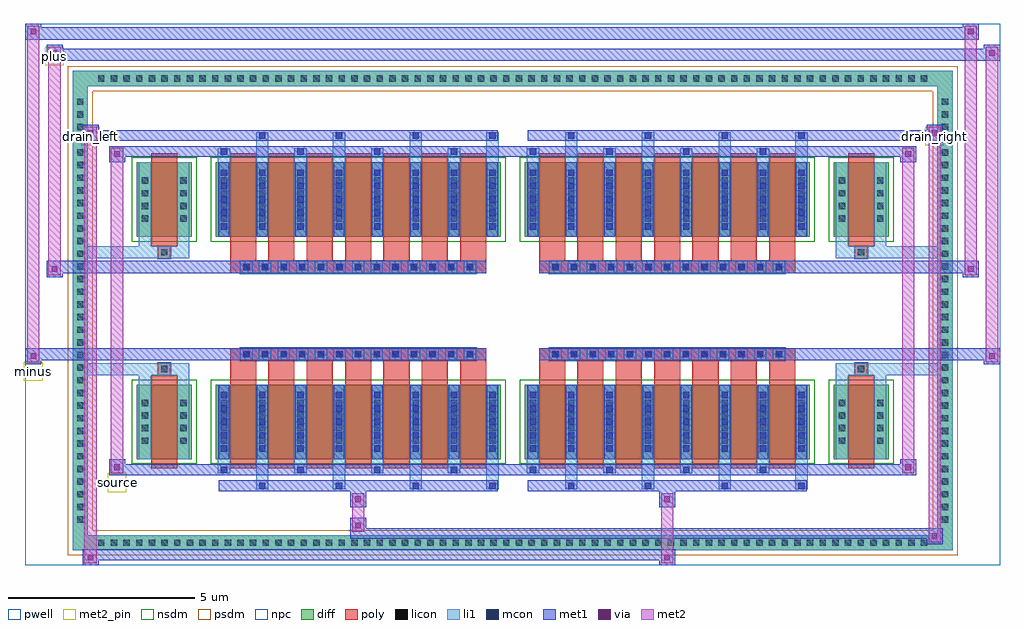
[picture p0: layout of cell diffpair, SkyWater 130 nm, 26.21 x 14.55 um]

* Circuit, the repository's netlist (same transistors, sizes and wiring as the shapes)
* NGSPICE file created from diffpair.ext - technology: sky130A

.subckt diffpair minus drain_right drain_left source plus
X0 a_n2364_n1288# a_n2364_n1288# a_n2364_n1288# a_n2364_n1288# sky130_fd_pr__nfet_01v8 ad=0.78 pd=4.78 as=6.24 ps=38.24 w=2 l=0.7
X1 drain_left plus source a_n2364_n1288# sky130_fd_pr__nfet_01v8 ad=0.33 pd=2.33 as=0.78 ps=4.78 w=2 l=0.7
X2 drain_left plus source a_n2364_n1288# sky130_fd_pr__nfet_01v8 ad=0.33 pd=2.33 as=0.33 ps=2.33 w=2 l=0.7
X3 source minus drain_right a_n2364_n1288# sky130_fd_pr__nfet_01v8 ad=0.33 pd=2.33 as=0.33 ps=2.33 w=2 l=0.7
X4 drain_right minus source a_n2364_n1288# sky130_fd_pr__nfet_01v8 ad=0.33 pd=2.33 as=0.78 ps=4.78 w=2 l=0.7
X5 source minus drain_right a_n2364_n1288# sky130_fd_pr__nfet_01v8 ad=0.33 pd=2.33 as=0.33 ps=2.33 w=2 l=0.7
X6 drain_left plus source a_n2364_n1288# sky130_fd_pr__nfet_01v8 ad=0.33 pd=2.33 as=0.33 ps=2.33 w=2 l=0.7
X7 drain_left plus source a_n2364_n1288# sky130_fd_pr__nfet_01v8 ad=0.33 pd=2.33 as=0.33 ps=2.33 w=2 l=0.7
X8 drain_left plus source a_n2364_n1288# sky130_fd_pr__nfet_01v8 ad=0.78 pd=4.78 as=0.33 ps=2.33 w=2 l=0.7
X9 drain_left plus source a_n2364_n1288# sky130_fd_pr__nfet_01v8 ad=0.33 pd=2.33 as=0.33 ps=2.33 w=2 l=0.7
X10 source plus drain_left a_n2364_n1288# sky130_fd_pr__nfet_01v8 ad=0.33 pd=2.33 as=0.33 ps=2.33 w=2 l=0.7
X11 drain_right minus source a_n2364_n1288# sky130_fd_pr__nfet_01v8 ad=0.78 pd=4.78 as=0.33 ps=2.33 w=2 l=0.7
X12 drain_right minus source a_n2364_n1288# sky130_fd_pr__nfet_01v8 ad=0.33 pd=2.33 as=0.33 ps=2.33 w=2 l=0.7
X13 drain_right minus source a_n2364_n1288# sky130_fd_pr__nfet_01v8 ad=0.33 pd=2.33 as=0.33 ps=2.33 w=2 l=0.7
X14 drain_left plus source a_n2364_n1288# sky130_fd_pr__nfet_01v8 ad=0.78 pd=4.78 as=0.33 ps=2.33 w=2 l=0.7
X15 source plus drain_left a_n2364_n1288# sky130_fd_pr__nfet_01v8 ad=0.33 pd=2.33 as=0.33 ps=2.33 w=2 l=0.7
X16 source plus drain_left a_n2364_n1288# sky130_fd_pr__nfet_01v8 ad=0.33 pd=2.33 as=0.33 ps=2.33 w=2 l=0.7
X17 source plus drain_left a_n2364_n1288# sky130_fd_pr__nfet_01v8 ad=0.33 pd=2.33 as=0.33 ps=2.33 w=2 l=0.7
X18 source minus drain_right a_n2364_n1288# sky130_fd_pr__nfet_01v8 ad=0.33 pd=2.33 as=0.33 ps=2.33 w=2 l=0.7
X19 drain_right minus source a_n2364_n1288# sky130_fd_pr__nfet_01v8 ad=0.33 pd=2.33 as=0.78 ps=4.78 w=2 l=0.7
X20 a_n2364_n1288# a_n2364_n1288# a_n2364_n1288# a_n2364_n1288# sky130_fd_pr__nfet_01v8 ad=0.78 pd=4.78 as=0 ps=0 w=2 l=0.7
X21 drain_right minus source a_n2364_n1288# sky130_fd_pr__nfet_01v8 ad=0.78 pd=4.78 as=0.33 ps=2.33 w=2 l=0.7
X22 source plus drain_left a_n2364_n1288# sky130_fd_pr__nfet_01v8 ad=0.33 pd=2.33 as=0.33 ps=2.33 w=2 l=0.7
X23 a_n2364_n1288# a_n2364_n1288# a_n2364_n1288# a_n2364_n1288# sky130_fd_pr__nfet_01v8 ad=0.78 pd=4.78 as=0 ps=0 w=2 l=0.7
X24 source minus drain_right a_n2364_n1288# sky130_fd_pr__nfet_01v8 ad=0.33 pd=2.33 as=0.33 ps=2.33 w=2 l=0.7
X25 drain_right minus source a_n2364_n1288# sky130_fd_pr__nfet_01v8 ad=0.33 pd=2.33 as=0.33 ps=2.33 w=2 l=0.7
X26 drain_right minus source a_n2364_n1288# sky130_fd_pr__nfet_01v8 ad=0.33 pd=2.33 as=0.33 ps=2.33 w=2 l=0.7
X27 source plus drain_left a_n2364_n1288# sky130_fd_pr__nfet_01v8 ad=0.33 pd=2.33 as=0.33 ps=2.33 w=2 l=0.7
X28 drain_left plus source a_n2364_n1288# sky130_fd_pr__nfet_01v8 ad=0.33 pd=2.33 as=0.78 ps=4.78 w=2 l=0.7
X29 source minus drain_right a_n2364_n1288# sky130_fd_pr__nfet_01v8 ad=0.33 pd=2.33 as=0.33 ps=2.33 w=2 l=0.7
X30 source minus drain_right a_n2364_n1288# sky130_fd_pr__nfet_01v8 ad=0.33 pd=2.33 as=0.33 ps=2.33 w=2 l=0.7
X31 a_n2364_n1288# a_n2364_n1288# a_n2364_n1288# a_n2364_n1288# sky130_fd_pr__nfet_01v8 ad=0.78 pd=4.78 as=0 ps=0 w=2 l=0.7
.ends

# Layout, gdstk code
import gdstk
lib = gdstk.Library(unit=1e-6, precision=5e-09)
def R(c, l, rs):  # rectangles x0, y0, x1, y1
    for r in rs: c.add(gdstk.rectangle(r[:2], r[2:], *l))
def A(c, l, x, y, w, h, nx, ny, dx, dy):  # array of equal rectangles
    R(c, l, [(x+i*dx, y+j*dy, x+i*dx+w, y+j*dy+h) for i in range(nx) for j in range(ny)])
def P(c, l, *ps):  # polygons
    for p in ps: c.add(gdstk.Polygon(p, *l))
pwell = (64, 44)
diff = (65, 20)
poly = (66, 20)
licon = (66, 44)
li1 = (67, 20)
mcon = (67, 44)
met1 = (68, 20)
via = (68, 44)
met2_pin = (69, 16)
met2 = (69, 20)
nsdm = (93, 44)
psdm = (94, 20)
npc = (95, 20)

diffpair = lib.new_cell('diffpair')
R(diffpair, pwell, [(-13.09,-6.84,13.09,7.71), (-10.41,-5.03,-0.01,-0.805), (0.01,-5.03,10.41,-0.805), (-10.41,0.805,-0.01,5.03), (0.01,0.805,10.41,5.03)])
A(diffpair, diff, -11.255, -6.44, 0.41, 0.41, 66, 2, 0.34, 12.47)
A(diffpair, diff, -11.82, -5.815, 0.41, 0.41, 1, 34, 0, 0.34)
A(diffpair, diff, 11.41, -5.815, 0.41, 0.41, 1, 34, 0, 0.34)
R(diffpair, diff, [(-11.255,-6.44,11.255,-6.03), (-11.82,-5.815,-11.41,5.815), (11.41,-5.815,11.82,5.815), (-10.1,-3.985,-8.62,-1.985), (-7.98,-3.985,-0.32,-1.985), (0.32,-3.985,7.98,-1.985), (8.62,-3.985,10.1,-1.985), (-10.1,1.985,-8.62,3.985), (-7.98,1.985,-0.32,3.985), (0.32,1.985,7.98,3.985), (8.62,1.985,10.1,3.985), (-11.255,6.03,11.255,6.44)])
P(diffpair, diff, [(11.82,6.44),(-11.82,6.44),(-11.82,-6.03),(-11.41,-6.03),(-11.41,6.03),(11.41,6.03),(11.41,-6.03),(-11.41,-6.03),(-11.82,-6.03),(-11.82,-6.44),(11.82,-6.44)])
A(diffpair, poly, -7.59, -4.235, 0.7, 2.5, 7, 2, 1.03, 5.97)
A(diffpair, poly, 0.71, -4.235, 0.7, 2.5, 7, 2, 1.03, 5.97)
A(diffpair, poly, -7.59, -1.735, 0.7, 0.4, 7, 2, 1.03, 3.07)
A(diffpair, poly, 0.71, -1.735, 0.7, 0.4, 7, 2, 1.03, 3.07)
A(diffpair, poly, -7.315, -1.335, 0.33, 0.33, 13, 2, 0.5, 2.34)
A(diffpair, poly, 0.985, -1.335, 0.33, 0.33, 13, 2, 0.5, 2.34)
R(diffpair, poly, [(-9.71,-4.235,-9.01,-1.735), (9.01,-4.235,9.71,-1.735), (-9.525,-1.735,-9.195,-1.405), (-9.525,-1.735,-9.195,-1.405), (9.195,-1.735,9.525,-1.405), (9.195,-1.735,9.525,-1.405), (-7.59,-1.335,-0.71,-1.005), (0.71,-1.335,7.59,-1.005), (-7.59,1.005,-0.71,1.335), (0.71,1.005,7.59,1.335), (-9.525,1.405,-9.195,1.735), (-9.525,1.405,-9.195,1.735), (9.195,1.405,9.525,1.735), (9.195,1.405,9.525,1.735), (-9.71,1.735,-9.01,4.235), (9.01,1.735,9.71,4.235)])
A(diffpair, licon, -11.135, -6.32, 0.17, 0.17, 66, 2, 0.34, 12.47)
A(diffpair, licon, -11.7, -5.695, 0.17, 0.17, 1, 34, 0, 0.34)
A(diffpair, licon, 11.53, -5.695, 0.17, 0.17, 1, 34, 0, 0.34)
A(diffpair, licon, -9.96, -3.58, 0.17, 0.17, 1, 4, 0, 0.34)
A(diffpair, licon, -8.93, -3.58, 0.17, 0.17, 1, 4, 0, 0.34)
A(diffpair, licon, -7.84, -3.58, 0.17, 0.17, 8, 4, 1.03, 0.34)
A(diffpair, licon, 0.46, -3.58, 0.17, 0.17, 8, 4, 1.03, 0.34)
A(diffpair, licon, 8.76, -3.58, 0.17, 0.17, 1, 4, 0, 0.34)
A(diffpair, licon, 9.79, -3.58, 0.17, 0.17, 1, 4, 0, 0.34)
A(diffpair, licon, -7.235, -1.255, 0.17, 0.17, 13, 2, 0.5, 2.34)
A(diffpair, licon, 1.065, -1.255, 0.17, 0.17, 13, 2, 0.5, 2.34)
A(diffpair, licon, -9.96, 2.39, 0.17, 0.17, 1, 4, 0, 0.34)
A(diffpair, licon, -8.93, 2.39, 0.17, 0.17, 1, 4, 0, 0.34)
A(diffpair, licon, -7.84, 2.39, 0.17, 0.17, 8, 4, 1.03, 0.34)
A(diffpair, licon, 0.46, 2.39, 0.17, 0.17, 8, 4, 1.03, 0.34)
A(diffpair, licon, 8.76, 2.39, 0.17, 0.17, 1, 4, 0, 0.34)
A(diffpair, licon, 9.79, 2.39, 0.17, 0.17, 1, 4, 0, 0.34)
R(diffpair, licon, [(-9.445,-1.655,-9.275,-1.485), (9.275,-1.655,9.445,-1.485), (-9.445,1.485,-9.275,1.655), (9.275,1.485,9.445,1.655)])
A(diffpair, li1, -11.215, -6.4, 0.33, 0.33, 66, 2, 0.34, 12.47)
A(diffpair, li1, -11.78, -5.775, 0.33, 0.33, 1, 34, 0, 0.34)
A(diffpair, li1, 11.45, -5.775, 0.33, 0.33, 1, 34, 0, 0.34)
A(diffpair, li1, -6.89, -4.79, 0.33, 0.805, 4, 2, 2.06, 8.775)
A(diffpair, li1, -6.81, -4.79, 0.17, 0.17, 4, 2, 2.06, 9.41)
A(diffpair, li1, 1.41, -4.79, 0.33, 0.805, 4, 2, 2.06, 8.775)
A(diffpair, li1, 1.49, -4.79, 0.17, 0.17, 4, 2, 2.06, 9.41)
A(diffpair, li1, -7.92, -4.36, 0.33, 0.375, 4, 2, 2.06, 8.345)
A(diffpair, li1, -7.84, -4.36, 0.17, 0.17, 4, 2, 2.06, 8.55)
A(diffpair, li1, 0.38, -4.36, 0.33, 0.375, 4, 2, 2.06, 8.345)
A(diffpair, li1, 0.46, -4.36, 0.17, 0.17, 4, 2, 2.06, 8.55)
A(diffpair, li1, -7.92, -3.985, 0.33, 2, 8, 2, 1.03, 5.97)
A(diffpair, li1, 0.38, -3.985, 0.33, 2, 8, 2, 1.03, 5.97)
A(diffpair, li1, -7.84, -3.79, 0.17, 0.17, 8, 5, 1.03, 0.36)
A(diffpair, li1, -7.84, -3.79, 0.17, 1.61, 8, 2, 1.03, 5.97)
A(diffpair, li1, 0.46, -3.79, 0.17, 0.17, 8, 5, 1.03, 0.36)
A(diffpair, li1, 0.46, -3.79, 0.17, 1.61, 8, 2, 1.03, 5.97)
A(diffpair, li1, -10.04, -3.66, 0.33, 0.33, 1, 4, 0, 0.34)
A(diffpair, li1, -9.01, -3.66, 0.33, 0.33, 1, 4, 0, 0.34)
A(diffpair, li1, -7.92, -3.66, 0.33, 0.33, 8, 4, 1.03, 0.34)
A(diffpair, li1, 0.38, -3.66, 0.33, 0.33, 8, 4, 1.03, 0.34)
A(diffpair, li1, 8.68, -3.66, 0.33, 0.33, 1, 4, 0, 0.34)
A(diffpair, li1, 9.71, -3.66, 0.33, 0.33, 1, 4, 0, 0.34)
A(diffpair, li1, -7.315, -1.335, 0.33, 0.33, 13, 2, 0.5, 2.34)
A(diffpair, li1, 0.985, -1.335, 0.33, 0.33, 13, 2, 0.5, 2.34)
A(diffpair, li1, -7.84, 2.18, 0.17, 0.17, 8, 5, 1.03, 0.36)
A(diffpair, li1, 0.46, 2.18, 0.17, 0.17, 8, 5, 1.03, 0.36)
A(diffpair, li1, -10.04, 2.31, 0.33, 0.33, 1, 4, 0, 0.34)
A(diffpair, li1, -9.01, 2.31, 0.33, 0.33, 1, 4, 0, 0.34)
A(diffpair, li1, -7.92, 2.31, 0.33, 0.33, 8, 4, 1.03, 0.34)
A(diffpair, li1, 0.38, 2.31, 0.33, 0.33, 8, 4, 1.03, 0.34)
A(diffpair, li1, 8.68, 2.31, 0.33, 0.33, 1, 4, 0, 0.34)
A(diffpair, li1, 9.71, 2.31, 0.33, 0.33, 1, 4, 0, 0.34)
R(diffpair, li1, [(-11.82,-6.44,-11.41,-6.03), (-11.82,-6.44,-11.41,-6.03), (-11.41,-6.44,11.41,-6.03), (11.41,-6.44,11.82,-6.03), (11.41,-6.44,11.82,-6.03), (-11.82,-6.03,-11.41,6.03), (11.41,-6.03,11.82,6.03), (-10.04,-3.985,-9.71,-1.985), (-9.01,-3.985,-8.68,-1.985), (8.68,-3.985,9.01,-1.985), (9.71,-3.985,10.04,-1.985), (-10.04,-1.985,-9.71,-1.405), (-9.01,-1.985,-8.68,-1.405), (8.68,-1.985,9.01,-1.405), (9.71,-1.985,10.04,-1.405), (-11.82,-1.735,-9.525,-1.405), (-10.04,-1.735,-9.525,-1.405), (-9.525,-1.735,-9.195,-1.405), (-9.195,-1.735,-8.68,-1.405), (8.68,-1.735,9.195,-1.405), (9.195,-1.735,9.525,-1.405), (9.195,-1.735,11.82,-1.405), (9.525,-1.735,10.04,-1.405), (-11.82,1.405,-9.525,1.735), (-10.04,1.405,-9.525,1.735), (-10.04,1.405,-9.71,1.985), (-9.525,1.405,-9.195,1.735), (-9.195,1.405,-8.68,1.735), (-9.01,1.405,-8.68,1.985), (8.68,1.405,9.195,1.735), (8.68,1.405,9.01,1.985), (9.195,1.405,9.525,1.735), (9.195,1.405,11.82,1.735), (9.525,1.405,10.04,1.735), (9.71,1.405,10.04,1.985), (-10.04,1.985,-9.71,3.985), (-9.01,1.985,-8.68,3.985), (8.68,1.985,9.01,3.985), (9.71,1.985,10.04,3.985), (-11.82,6.03,-11.41,6.44), (-11.82,6.03,-11.41,6.44), (-11.41,6.03,11.41,6.44), (11.41,6.03,11.82,6.44), (11.41,6.03,11.82,6.44)])
A(diffpair, mcon, -6.81, -4.79, 0.17, 0.17, 4, 2, 2.06, 9.41)
A(diffpair, mcon, 1.49, -4.79, 0.17, 0.17, 4, 2, 2.06, 9.41)
A(diffpair, mcon, -7.84, -4.36, 0.17, 0.17, 4, 2, 2.06, 8.55)
A(diffpair, mcon, 0.46, -4.36, 0.17, 0.17, 4, 2, 2.06, 8.55)
A(diffpair, mcon, -7.84, -3.79, 0.17, 0.17, 8, 5, 1.03, 0.36)
A(diffpair, mcon, 0.46, -3.79, 0.17, 0.17, 8, 5, 1.03, 0.36)
A(diffpair, mcon, -7.235, -1.255, 0.17, 0.17, 13, 2, 0.5, 2.34)
A(diffpair, mcon, 1.065, -1.255, 0.17, 0.17, 13, 2, 0.5, 2.34)
A(diffpair, mcon, -7.84, 2.18, 0.17, 0.17, 8, 5, 1.03, 0.36)
A(diffpair, mcon, 0.46, 2.18, 0.17, 0.17, 8, 5, 1.03, 0.36)
A(diffpair, met1, -6.87, -4.85, 0.29, 0.29, 4, 2, 2.06, 9.41)
A(diffpair, met1, 1.43, -4.85, 0.29, 0.29, 4, 2, 2.06, 9.41)
A(diffpair, met1, -7.9, -4.42, 0.29, 0.29, 4, 2, 2.06, 8.55)
A(diffpair, met1, 0.4, -4.42, 0.29, 0.29, 4, 2, 2.06, 8.55)
A(diffpair, met1, -7.9, -3.985, 0.29, 2, 8, 2, 1.03, 5.97)
A(diffpair, met1, 0.4, -3.985, 0.29, 2, 8, 2, 1.03, 5.97)
A(diffpair, met1, -7.9, -3.85, 0.29, 0.29, 8, 5, 1.03, 0.36)
A(diffpair, met1, 0.4, -3.85, 0.29, 0.29, 8, 5, 1.03, 0.36)
A(diffpair, met1, -7.295, -1.315, 0.29, 0.29, 13, 2, 0.5, 2.34)
A(diffpair, met1, 1.005, -1.315, 0.29, 0.29, 13, 2, 0.5, 2.34)
A(diffpair, met1, -7.9, 2.12, 0.29, 0.29, 8, 5, 1.03, 0.36)
A(diffpair, met1, 0.4, 2.12, 0.29, 0.29, 8, 5, 1.03, 0.36)
R(diffpair, met1, [(-11.55,-6.84,-11.12,-6.41), (3.935,-6.84,4.365,-6.41), (-11.55,-6.7,4.365,-6.41), (11.12,-6.27,11.55,-5.84), (-4.365,-6.13,11.55,-5.84), (-4.365,-5.99,-3.935,-5.56), (-4.365,-5.28,-3.935,-4.85), (3.935,-5.28,4.365,-4.85), (-7.9,-4.85,-0.4,-4.56), (0.4,-4.85,7.9,-4.56), (-10.84,-4.42,-10.41,-3.99), (-10.84,-4.42,-7.9,-4.13), (-7.9,-4.42,-0.4,-4.13), (-0.4,-4.42,0.4,-4.13), (0.4,-4.42,7.9,-4.13), (7.9,-4.42,10.84,-4.13), (10.41,-4.42,10.84,-3.99), (-13.09,-1.435,-12.66,-1.005), (12.66,-1.435,13.09,-1.005), (-13.09,-1.335,-0.71,-1.005), (-7.59,-1.335,-0.71,-1.005), (0.71,-1.335,7.59,-1.005), (0.71,-1.335,13.09,-1.005), (-12.52,0.905,-12.09,1.335), (12.09,0.905,12.52,1.335), (-12.52,1.005,-7.59,1.335), (-7.59,1.005,-0.71,1.335), (0.71,1.005,7.59,1.335), (7.59,1.005,12.52,1.335), (-10.84,3.99,-10.41,4.42), (10.41,3.99,10.84,4.42), (-10.84,4.13,-7.9,4.42), (-7.9,4.13,-0.4,4.42), (-0.4,4.13,0.4,4.42), (0.4,4.13,7.9,4.42), (7.9,4.13,10.84,4.42), (-11.55,4.56,-11.12,4.99), (-11.55,4.56,-7.9,4.85), (-7.9,4.56,-0.4,4.85), (0.4,4.56,7.9,4.85), (7.9,4.56,11.55,4.85), (11.12,4.56,11.55,4.99), (-12.52,6.71,-12.09,7.14), (-12.52,6.71,-10.41,7.04), (-10.41,6.71,10.41,7.04), (10.41,6.71,13.09,7.04), (12.66,6.71,13.09,7.14), (-13.09,7.28,-12.66,7.71), (-13.09,7.28,-10.41,7.61), (-10.41,7.28,10.41,7.61), (10.41,7.28,12.52,7.61), (12.09,7.28,12.52,7.71)])
R(diffpair, via, [(-11.41,-6.7,-11.26,-6.55), (4.075,-6.7,4.225,-6.55), (11.26,-6.13,11.41,-5.98), (-4.225,-5.85,-4.075,-5.7), (-4.225,-5.14,-4.075,-4.99), (4.075,-5.14,4.225,-4.99), (-10.7,-4.28,-10.55,-4.13), (10.55,-4.28,10.7,-4.13), (-12.95,-1.295,-12.8,-1.145), (12.8,-1.295,12.95,-1.145), (-12.38,1.045,-12.23,1.195), (12.23,1.045,12.38,1.195), (-10.7,4.13,-10.55,4.28), (10.55,4.13,10.7,4.28), (-11.41,4.7,-11.26,4.85), (11.26,4.7,11.41,4.85), (-12.38,6.85,-12.23,7), (12.8,6.85,12.95,7), (-12.95,7.42,-12.8,7.57), (12.23,7.42,12.38,7.57)])
R(diffpair, met2_pin, [(-10.875,-4.87,-10.375,-4.37), (-13.125,-1.885,-12.625,-1.385), (-11.585,4.44,-11.085,4.94), (11.085,4.44,11.585,4.94), (-12.555,6.59,-12.055,7.09)])
R(diffpair, met2, [(-11.5,-6.79,-11.17,-6.46), (-11.5,-6.79,-11.17,4.94), (3.985,-6.79,4.315,-6.46), (3.985,-6.46,4.315,-5.23), (11.17,-6.22,11.5,-5.89), (11.17,-6.22,11.5,4.94), (-4.315,-5.94,-3.985,-5.61), (-4.315,-5.61,-3.985,-5.23), (-4.315,-5.23,-3.985,-4.9), (3.985,-5.23,4.315,-4.9), (-10.79,-4.37,-10.46,-4.04), (-10.79,-4.37,-10.46,4.37), (10.46,-4.37,10.79,-4.04), (10.46,-4.37,10.79,4.37), (-13.04,-1.385,-12.71,-1.055), (-13.04,-1.385,-12.71,7.66), (12.71,-1.385,13.04,-1.055), (12.71,-1.385,13.04,7.09), (-12.47,0.955,-12.14,1.285), (-12.47,0.955,-12.14,7.09), (12.14,0.955,12.47,1.285), (12.14,0.955,12.47,7.66), (-10.79,4.04,-10.46,4.37), (10.46,4.04,10.79,4.37), (-11.5,4.61,-11.17,4.94), (11.17,4.61,11.5,4.94), (-12.47,6.76,-12.14,7.09), (12.71,6.76,13.04,7.09), (-13.04,7.33,-12.71,7.66), (12.14,7.33,12.47,7.66)])
P(diffpair, met2, [(13.04,-1.385),(13.04,-1.385),(13.04,-1.055),(13.04,-1.055)],
  [(13.04,6.76),(13.04,6.76),(13.04,7.09),(13.04,7.09)],
  [(-12.71,-1.385),(-12.71,-1.385),(-12.71,-1.055),(-12.71,-1.055)],
  [(-12.71,7.33),(-12.71,7.33),(-12.71,7.66),(-12.71,7.66)],
  [(12.47,0.955),(12.47,0.955),(12.47,1.285),(12.47,1.285)],
  [(12.47,7.33),(12.47,7.33),(12.47,7.66),(12.47,7.66)],
  [(-12.14,0.955),(-12.14,0.955),(-12.14,1.285),(-12.14,1.285)],
  [(-12.14,6.76),(-12.14,6.76),(-12.14,7.09),(-12.14,7.09)],
  [(-11.17,-6.79),(-11.17,-6.79),(-11.17,-6.46),(-11.17,-6.46)],
  [(-11.17,4.61),(-11.17,4.61),(-11.17,4.94),(-11.17,4.94)],
  [(11.5,-6.22),(11.5,-6.22),(11.5,-5.89),(11.5,-5.89)],
  [(11.5,4.61),(11.5,4.61),(11.5,4.94),(11.5,4.94)],
  [(-10.46,-4.37),(-10.46,-4.37),(-10.46,-4.04),(-10.46,-4.04)],
  [(-10.46,4.04),(-10.46,4.04),(-10.46,4.37),(-10.46,4.37)],
  [(10.79,-4.37),(10.79,-4.37),(10.79,-4.04),(10.79,-4.04)],
  [(10.79,4.04),(10.79,4.04),(10.79,4.37),(10.79,4.37)])
R(diffpair, nsdm, [(-10.23,-4.115,-8.49,-1.855), (-8.11,-4.115,-0.19,-1.855), (0.19,-4.115,8.11,-1.855), (8.49,-4.115,10.23,-1.855), (-10.23,1.855,-8.49,4.115), (-8.11,1.855,-0.19,4.115), (0.19,1.855,8.11,4.115), (8.49,1.855,10.23,4.115)])
P(diffpair, psdm, [(11.95,6.57),(-11.95,6.57),(-11.95,-5.9),(-11.28,-5.9),(-11.28,5.9),(11.28,5.9),(11.28,-5.9),(-11.28,-5.9),(-11.95,-5.9),(-11.95,-6.57),(11.95,-6.57)])
A(diffpair, npc, -7.335, -1.355, 0.37, 0.37, 13, 2, 0.5, 2.34)
A(diffpair, npc, 0.965, -1.355, 0.37, 0.37, 13, 2, 0.5, 2.34)
R(diffpair, npc, [(-9.545,-1.755,-9.175,-1.385), (9.175,-1.755,9.545,-1.385), (-7.335,-1.355,-6.465,-0.985), (-7.335,-1.355,-6.465,-0.985), (-6.835,-1.355,-5.965,-0.985), (-6.835,-1.355,-5.965,-0.985), (-6.335,-1.355,-5.465,-0.985), (-6.335,-1.355,-5.465,-0.985), (-5.835,-1.355,-4.965,-0.985), (-5.835,-1.355,-4.965,-0.985), (-5.335,-1.355,-4.465,-0.985), (-5.335,-1.355,-4.465,-0.985), (-4.835,-1.355,-3.965,-0.985), (-4.835,-1.355,-3.965,-0.985), (-4.335,-1.355,-3.465,-0.985), (-4.335,-1.355,-3.465,-0.985), (-3.835,-1.355,-2.965,-0.985), (-3.835,-1.355,-2.965,-0.985), (-3.335,-1.355,-2.465,-0.985), (-3.335,-1.355,-2.465,-0.985), (-2.835,-1.355,-1.965,-0.985), (-2.835,-1.355,-1.965,-0.985), (-2.335,-1.355,-1.465,-0.985), (-2.335,-1.355,-1.465,-0.985), (-1.835,-1.355,-0.965,-0.985), (-1.835,-1.355,-0.965,-0.985), (0.965,-1.355,1.835,-0.985), (0.965,-1.355,1.835,-0.985), (1.465,-1.355,2.335,-0.985), (1.465,-1.355,2.335,-0.985), (1.965,-1.355,2.835,-0.985), (1.965,-1.355,2.835,-0.985), (2.465,-1.355,3.335,-0.985), (2.465,-1.355,3.335,-0.985), (2.965,-1.355,3.835,-0.985), (2.965,-1.355,3.835,-0.985), (3.465,-1.355,4.335,-0.985), (3.465,-1.355,4.335,-0.985), (3.965,-1.355,4.835,-0.985), (3.965,-1.355,4.835,-0.985), (4.465,-1.355,5.335,-0.985), (4.465,-1.355,5.335,-0.985), (4.965,-1.355,5.835,-0.985), (4.965,-1.355,5.835,-0.985), (5.465,-1.355,6.335,-0.985), (5.465,-1.355,6.335,-0.985), (5.965,-1.355,6.835,-0.985), (5.965,-1.355,6.835,-0.985), (6.465,-1.355,7.335,-0.985), (6.465,-1.355,7.335,-0.985), (-7.335,0.985,-6.465,1.355), (-7.335,0.985,-6.465,1.355), (-6.835,0.985,-5.965,1.355), (-6.835,0.985,-5.965,1.355), (-6.335,0.985,-5.465,1.355), (-6.335,0.985,-5.465,1.355), (-5.835,0.985,-4.965,1.355), (-5.835,0.985,-4.965,1.355), (-5.335,0.985,-4.465,1.355), (-5.335,0.985,-4.465,1.355), (-4.835,0.985,-3.965,1.355), (-4.835,0.985,-3.965,1.355), (-4.335,0.985,-3.465,1.355), (-4.335,0.985,-3.465,1.355), (-3.835,0.985,-2.965,1.355), (-3.835,0.985,-2.965,1.355), (-3.335,0.985,-2.465,1.355), (-3.335,0.985,-2.465,1.355), (-2.835,0.985,-1.965,1.355), (-2.835,0.985,-1.965,1.355), (-2.335,0.985,-1.465,1.355), (-2.335,0.985,-1.465,1.355), (-1.835,0.985,-0.965,1.355), (-1.835,0.985,-0.965,1.355), (0.965,0.985,1.835,1.355), (0.965,0.985,1.835,1.355), (1.465,0.985,2.335,1.355), (1.465,0.985,2.335,1.355), (1.965,0.985,2.835,1.355), (1.965,0.985,2.835,1.355), (2.465,0.985,3.335,1.355), (2.465,0.985,3.335,1.355), (2.965,0.985,3.835,1.355), (2.965,0.985,3.835,1.355), (3.465,0.985,4.335,1.355), (3.465,0.985,4.335,1.355), (3.965,0.985,4.835,1.355), (3.965,0.985,4.835,1.355), (4.465,0.985,5.335,1.355), (4.465,0.985,5.335,1.355), (4.965,0.985,5.835,1.355), (4.965,0.985,5.835,1.355), (5.465,0.985,6.335,1.355), (5.465,0.985,6.335,1.355), (5.965,0.985,6.835,1.355), (5.965,0.985,6.835,1.355), (6.465,0.985,7.335,1.355), (6.465,0.985,7.335,1.355), (-9.545,1.385,-9.175,1.755), (9.175,1.385,9.545,1.755)])
diffpair.add(gdstk.Label('minus', (-12.875,-1.635), layer=69, texttype=5))
diffpair.add(gdstk.Label('drain_right', (11.335,4.69), layer=69, texttype=5))
diffpair.add(gdstk.Label('drain_left', (-11.335,4.69), layer=69, texttype=5))
diffpair.add(gdstk.Label('source', (-10.625,-4.62), layer=69, texttype=5))
diffpair.add(gdstk.Label('plus', (-12.305,6.84), layer=69, texttype=5))

lib.write_gds('diffpair.gds')
